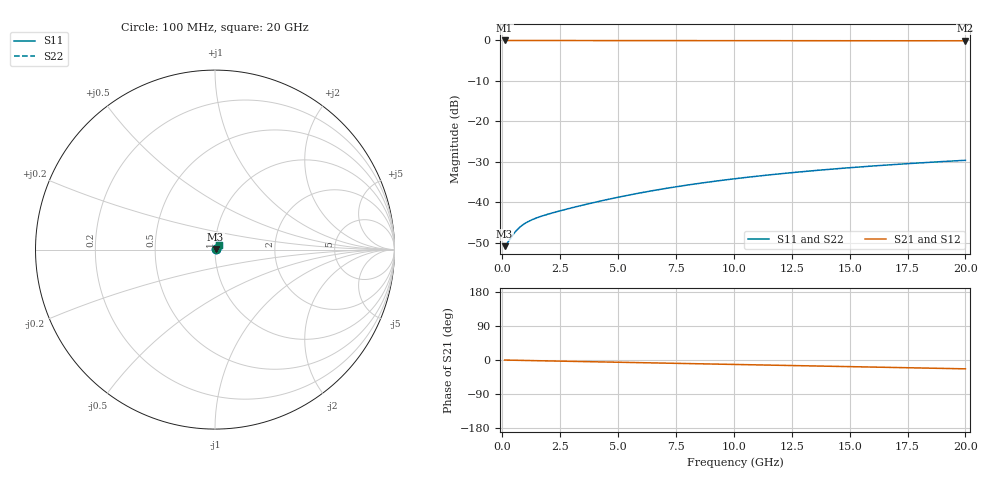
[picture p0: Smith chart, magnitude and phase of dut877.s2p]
! Touchstone file exported from HFSS 2026.1.0
!  File:  C:/ffzhzh/LocalFiles/Ansys_Project_Files/temp_train_BSMRDL_877_1783170996_55132.aedt
!  Generated:  09:17:42 PM Jul  4, 2026
!  Design:  BSMRDL
!  Project:  temp_train_BSMRDL_877_1783170996_55132
! Variables:
!  h_bsmrdl = 2.19um
!  h_ox = 20um
!  h_rdl = 5um
!  h_sub = 80um
!  h_tmrdl = 5um
!  h_tsv = 80um
!  h_via = 3um
!  l_bsmrdl = 399.99um
!  l_sub = 799.99um
!  l_tmrdl = 200um
!  m_sub = 200um
!  pitch = 31.69um
!  r_tsv = 6um
!  s_tmrdl = 10um
!  w_bsmrdl = 27.47um
!  w_sub = 500um
!  w_tmrdl = 12um
!  x_tsv_center1 = 206um
!  x_tsv_center2 = 633.46um
!  x_tsv_center3 = 845.46um
!  x_tsv_center4 = 1272.92um
!  x_tsv_center5 = 1484.92um
!  x_tsv_center6 = 1912.38um
# GHz S MA R 50.000000
! Terminal data exported
! Port[1] = BSM_RDL1_1_T1
! Port[2] = BSM_RDL1_1_T2
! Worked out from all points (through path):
!   200 points, 100 MHz to 20 GHz, reference 50 ohm
!   highest |S21| = -0.02 dB at 100 MHz (marker M1); lowest = -0.1 dB at 20 GHz (marker M2)
!   group delay of S21, straight-line fit = 3.23 ps
!   lowest |S11| = -50.9 dB at 100 MHz (marker M3), VSWR 1.01, Z = 50.3 + j0.0588 ohm
!   |S11| at or under -10 dB: start of sweep to end of sweep
!   |S22| runs from -50.9 to -29.7 dB; largest |S21 - S12| = 1.4e-14
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0.1  0.002849 11.8  0.9972 -0.1  0.9972 -0.1  0.002849 11.8
! Gamma 0 0 0 0
! Port Impedance 50 0 50 0
0.2  0.003067 19.5  0.997 -0.3  0.997 -0.3  0.003055 20.0
0.4  0.00373 29.2  0.9965 -0.5  0.9965 -0.5  0.003731 29.8
0.5  0.004083 31.7  0.9963 -0.7  0.9963 -0.7  0.004091 32.2
0.6  0.00442 33.3  0.9961 -0.8  0.9961 -0.8  0.004431 33.6
0.7  0.004729 34.3  0.9959 -0.9  0.9959 -0.9  0.004744 34.5
0.8  0.005011 34.9  0.9957 -1.0  0.9957 -1.0  0.005026 35.1
0.9  0.005265 35.4  0.9955 -1.1  0.9955 -1.1  0.00528 35.5
1.1  0.005704 36.1  0.9953 -1.4  0.9953 -1.4  0.005717 36.2
1.4  0.006242 37.2  0.995 -1.7  0.995 -1.7  0.006252 37.2
1.9  0.006983 39.4  0.9948 -2.3  0.9948 -2.3  0.006988 39.4
2.6  0.00794 42.8  0.9945 -3.1  0.9945 -3.1  0.007941 42.8
3.5  0.009208 46.8  0.9942 -4.2  0.9942 -4.2  0.009206 46.8
5.1  0.01163 51.4  0.9937 -6.0  0.9937 -6.0  0.01163 51.4
6.8  0.01433 53.6  0.9931 -8.0  0.9931 -8.0  0.01433 53.7
8.4  0.01688 54.1  0.9925 -9.9  0.9925 -9.9  0.01687 54.2
10.1  0.01953 53.8  0.9918 -11.9  0.9918 -11.9  0.01952 53.9
11.7  0.02195 52.9  0.991 -13.7  0.991 -13.7  0.02193 53.0
13.4  0.0244 51.6  0.9902 -15.7  0.9902 -15.7  0.02439 51.7
15  0.02661 50.2  0.9895 -17.6  0.9895 -17.6  0.02659 50.4
16.7  0.02885 48.5  0.9887 -19.5  0.9887 -19.5  0.02883 48.8
20  0.03288 45.2  0.9872 -23.3  0.9872 -23.3  0.03284 45.5
